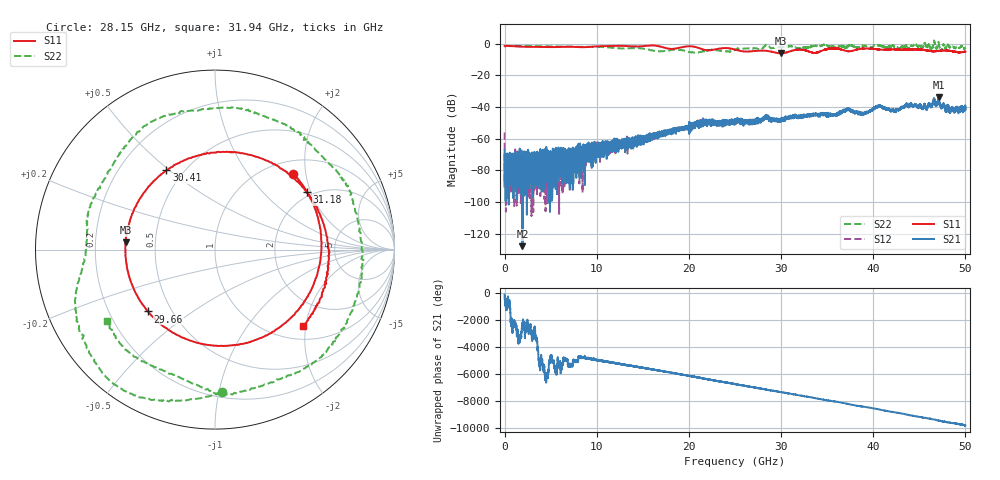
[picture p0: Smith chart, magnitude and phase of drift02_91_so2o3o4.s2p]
!Created with skrf (http://scikit-rf.org).
# Hz S RI R 50.0
!freq ReS11 ImS11 ReS21 ImS21 ReS12 ImS12 ReS22 ImS22
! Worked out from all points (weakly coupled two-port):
!   10001 points, 300 kHz to 50 GHz, reference 50 ohm
!   highest |S21| = -33.81 dB at 47.09 GHz (marker M1); lowest = -128.0 dB at 1.94 GHz (marker M2)
!   lowest |S11| = -6.0 dB at 30.01 GHz (marker M3), VSWR 2.99, Z = 16.8 + j1.78 ohm
!   |S11| at or under -10 dB: nowhere
!   |S22| runs from -5.7 to 2.1 dB; largest |S21 - S12| = 0.0038
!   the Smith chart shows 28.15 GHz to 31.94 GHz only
!   S11 on the Smith chart (normalised r, x): 28.15 GHz: 1.27, +1.70; 29.66 GHz: 0.37, -0.34; 30.41 GHz: 0.40, +0.49; 31.18 GHz: 1.85, +1.88; 31.94 GHz: 1.31, -1.92
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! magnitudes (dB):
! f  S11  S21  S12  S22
! 300 kHz  -1.3  -67.2  -56.1  -2.1
! 255.3 MHz  -1.3  -76.0  -83.5  -1.4
! 1.94 GHz  -1.9  -128.0  -78.9  -1.3
! 5.78 GHz  -2.1  -70.4  -79.8  -1.7
! 8.335 GHz  -2.2  -76.6  -72.1  -1.9
! 16.67 GHz  -1.4  -56.9  -56.9  -4.7
! 21.64 GHz  -3.8  -49.1  -49.0  -4.8
! 25 GHz  -3.7  -50.1  -49.2  -3.9
! 28.15 GHz  -4.3  -47.3  -47.6  -2.0
! 29.66 GHz  -5.9  -48.5  -48.5  -2.1
! 30.01 GHz  -6.0  -48.8  -48.1  -2.0
! 30.41 GHz  -5.7  -46.5  -47.6  -1.9
! 31.18 GHz  -4.4  -46.2  -46.7  -1.6
! 31.94 GHz  -3.8  -46.1  -45.4  -2.8
! 33.34 GHz  -5.5  -45.1  -45.1  -1.5
! 37.28 GHz  -4.7  -41.3  -41.4  -1.3
! 38.91 GHz  -3.0  -44.2  -44.1  -1.4
! 40.63 GHz  -3.6  -38.9  -39.2  -0.9
! 41.67 GHz  -3.7  -40.8  -41.1  -2.0
! 47.09 GHz  -4.5  -33.8  -34.8  1.0
! 48.55 GHz  -4.6  -41.1  -40.8  -1.5
! 50 GHz  -5.0  -41.4  -40.3  -2.6
